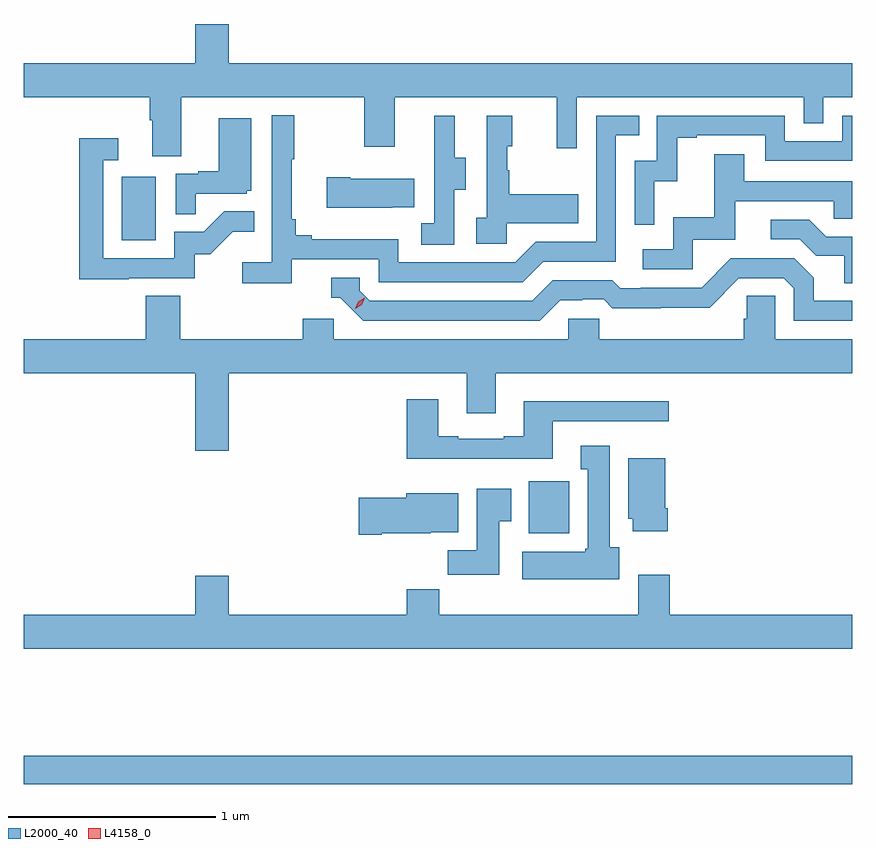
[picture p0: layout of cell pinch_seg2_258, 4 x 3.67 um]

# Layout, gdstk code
import gdstk
lib = gdstk.Library(unit=1e-6, precision=1e-09)
def R(c, l, rs):  # rectangles x0, y0, x1, y1
    for r in rs: c.add(gdstk.rectangle(r[:2], r[2:], *l))
def P(c, l, *ps):  # polygons
    for p in ps: c.add(gdstk.Polygon(p, *l))
L2000_40 = (2000, 40)
L4158_0 = (4158, 0)

pinch_seg2_258 = lib.new_cell('pinch_seg2_258')
R(pinch_seg2_258, L2000_40, [(919.425,661.636,923.425,661.772), (921.863,662.846,922.059,663.097), (919.898,664.26,920.062,664.567)])
P(pinch_seg2_258, L2000_40, [(920.185,664.952),(921.07,664.952),(921.07,664.713),(921.217,664.713),(921.217,664.952),(921.998,664.952),(921.998,664.704),(922.095,664.704),(922.095,664.952),(923.19,664.952),(923.19,664.825),(923.286,664.825),(923.286,664.952),(923.425,664.952),(923.425,665.116),(920.416,665.116),(920.416,665.305),(920.252,665.305),(920.252,665.116),(919.425,665.116),(919.425,664.952),(920.033,664.952),(920.033,664.84),(920.045,664.84),(920.045,664.666),(920.185,664.666)],
  [(920.72,664.17),(921.138,664.17),(921.138,664.059),(921.835,664.059),(921.934,664.158),(922.284,664.158),(922.284,664.767),(922.397,664.767),(922.397,664.863),(922.188,664.863),(922.188,664.254),(921.897,664.254),(921.798,664.155),(921.234,664.155),(921.234,664.267),(920.815,664.267),(920.815,664.286),(920.738,664.286),(920.738,664.363),(920.719,664.363),(920.719,664.651),(920.731,664.651),(920.731,664.864),(920.622,664.864),(920.622,664.156),(920.481,664.156),(920.481,664.054),(920.72,664.054)],
  [(922.47,664.547),(922.58,664.547),(922.58,664.755),(922.675,664.755),(922.675,664.767),(923.004,664.767),(923.004,664.644),(923.425,664.644),(923.425,664.863),(923.376,664.863),(923.376,664.74),(923.1,664.74),(923.1,664.863),(922.482,664.863),(922.482,664.644),(922.374,664.644),(922.374,664.335),(922.47,664.335)],
  [(921.504,664.504),(921.559,664.504),(921.559,664.659),(921.505,664.659),(921.505,664.861),(921.407,664.861),(921.407,664.647),(921.408,664.647),(921.408,664.343),(921.345,664.343),(921.345,664.24),(921.504,664.24)],
  [(921.756,664.343),(922.103,664.343),(922.103,664.483),(921.769,664.483),(921.769,664.598),(921.759,664.598),(921.759,664.716),(921.784,664.716),(921.784,664.861),(921.66,664.861),(921.66,664.37),(921.609,664.37),(921.609,664.245),(921.756,664.245)],
  [(920.255,664.485),(920.502,664.485),(920.502,664.5),(920.524,664.5),(920.524,664.849),(920.366,664.849),(920.366,664.594),(920.267,664.594),(920.267,664.581),(920.16,664.581),(920.16,664.387),(920.255,664.387)],
  [(919.931,664.077),(920.25,664.077),(920.25,664.194),(920.326,664.194),(920.433,664.301),(920.537,664.301),(920.537,664.4),(920.393,664.4),(920.295,664.302),(920.151,664.302),(920.151,664.173),(919.809,664.173),(919.809,664.647),(919.882,664.647),(919.882,664.753),(919.693,664.753),(919.693,664.072),(919.931,664.072)],
  [(922.656,664.263),(922.861,664.263),(922.861,664.449),(923.335,664.449),(923.335,664.365),(923.425,664.365),(923.425,664.545),(922.903,664.545),(922.903,664.675),(922.759,664.675),(922.759,664.372),(922.56,664.372),(922.56,664.218),(922.413,664.218),(922.413,664.122),(922.656,664.122)],
  [(921.203,664.421),(921.311,664.421),(921.311,664.558),(921.001,664.558),(921.001,664.566),(920.889,664.566),(920.889,664.418),(921.203,664.418)],
  [(923.425,664.278),(923.299,664.278),(923.218,664.359),(923.031,664.359),(923.031,664.266),(923.172,664.266),(923.252,664.186),(923.387,664.186),(923.387,664.054),(923.425,664.054)],
  [(922.015,663.972),(922.122,663.972),(922.122,663.975),(922.225,663.975),(922.267,663.933),(922.5,663.933),(922.5,663.935),(922.736,663.935),(922.878,664.077),(923.094,664.077),(923.142,664.029),(923.142,663.873),(923.425,663.873),(923.425,663.969),(923.239,663.969),(923.239,664.079),(923.145,664.173),(922.839,664.173),(922.698,664.032),(922.405,664.032),(922.405,664.029),(922.306,664.029),(922.267,664.068),(921.978,664.068),(921.879,663.969),(921.096,663.969),(921.048,664.017),(921.048,664.08),(920.909,664.08),(920.909,663.984),(920.952,663.984),(921.063,663.873),(921.916,663.873)],
  [(920.416,663.62),(921.563,663.62),(921.563,663.426),(921.703,663.426),(921.703,663.62),(923.425,663.62),(923.425,663.784),(923.052,663.784),(923.052,663.992),(922.915,663.992),(922.915,663.882),(922.901,663.882),(922.901,663.784),(922.203,663.784),(922.203,663.882),(922.053,663.882),(922.053,663.784),(920.922,663.784),(920.922,663.882),(920.771,663.882),(920.771,663.784),(920.18,663.784),(920.18,663.992),(920.015,663.992),(920.015,663.784),(919.425,663.784),(919.425,663.62),(920.252,663.62),(920.252,663.246),(920.416,663.246)],
  [(921.979,663.387),(922.54,663.387),(922.54,663.484),(921.839,663.484),(921.839,663.316),(921.743,663.316),(921.743,663.303),(921.523,663.303),(921.523,663.316),(921.427,663.316),(921.427,663.493),(921.275,663.493),(921.275,663.206),(921.979,663.206)],
  [(922.3,662.778),(922.255,662.778),(922.255,663.268),(922.115,663.268),(922.115,663.155),(922.148,663.155),(922.148,662.772),(922.135,662.772),(922.135,662.758),(921.831,662.758),(921.831,662.624),(922.3,662.624)],
  [(922.535,662.968),(922.522,662.968),(922.522,663.208),(922.343,663.208),(922.343,662.916),(922.364,662.916),(922.364,662.856),(922.535,662.856)],
  [(921.721,662.905),(921.778,662.905),(921.778,663.061),(921.611,663.061),(921.611,662.764),(921.472,662.764),(921.472,662.646),(921.721,662.646)],
  [(921.154,662.846),(921.39,662.846),(921.39,662.852),(921.523,662.852),(921.523,663.04),(921.272,663.04),(921.272,663.017),(921.042,663.017),(921.042,662.839),(921.154,662.839)],
  [(923.425,662.452),(922.544,662.452),(922.544,662.647),(922.391,662.647),(922.391,662.452),(921.431,662.452),(921.431,662.576),(921.275,662.576),(921.275,662.452),(920.416,662.452),(920.416,662.641),(920.252,662.641),(920.252,662.452),(919.425,662.452),(919.425,662.288),(923.425,662.288)])
P(pinch_seg2_258, L4158_0, [(921.025,663.93),(921.025,663.931),(921.041,663.964),(921.072,663.983),(921.072,663.983),(921.072,663.983),(921.056,663.95),(921.026,663.93)])

lib.write_gds('pinch_seg2_258.gds')
